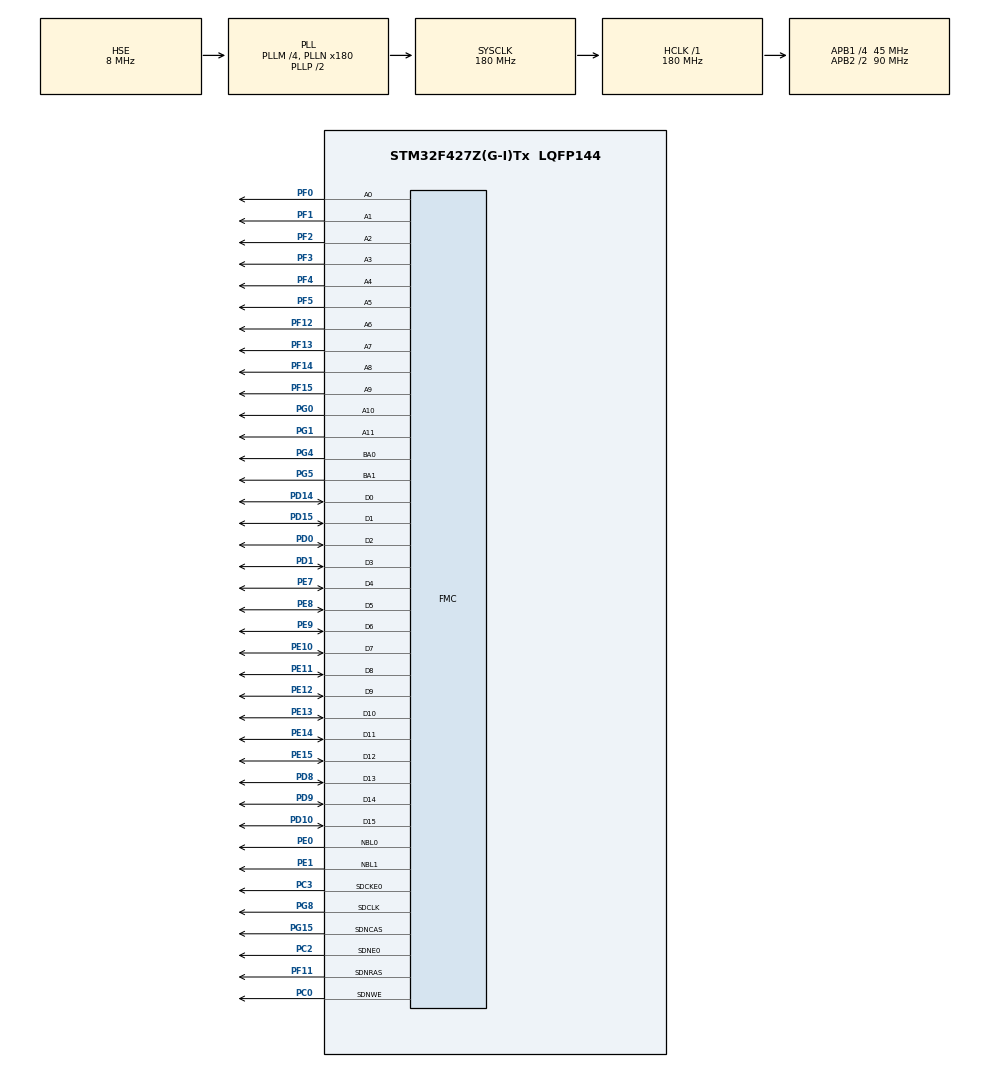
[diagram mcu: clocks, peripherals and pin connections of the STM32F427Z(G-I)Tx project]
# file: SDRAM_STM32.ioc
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FMC.CASLatency1=FMC_SDRAM_CAS_LATENCY_2
FMC.ExitSelfRefreshDelay1=7
FMC.LoadToActiveDelay1=2
FMC.RCDDelay1=2
FMC.RPDelay1=2
FMC.RPDelay2=2
FMC.ReadBurst1=FMC_SDRAM_RBURST_ENABLE
FMC.ReadBurst2=FMC_SDRAM_RBURST_ENABLE
FMC.ReadPipeDelay1=FMC_SDRAM_RPIPE_DELAY_2
FMC.ReadPipeDelay2=FMC_SDRAM_RPIPE_DELAY_2
FMC.RowCycleDelay1=6
FMC.RowCycleDelay2=6
FMC.SDClockPeriod1=FMC_SDRAM_CLOCK_PERIOD_2
FMC.SDClockPeriod2=FMC_SDRAM_CLOCK_PERIOD_2
FMC.SelfRefreshTime1=5
FMC.WriteRecoveryTime1=3
Mcu.Family=STM32F4
Mcu.Name=STM32F427Z(G-I)Tx
Mcu.Package=LQFP144
NVIC.PriorityGroup=NVIC_PRIORITYGROUP_4
PA13.Mode=Serial_Wire
PA13.Signal=SYS_JTMS-SWDIO
PA14.Mode=Serial_Wire
PA14.Signal=SYS_JTCK-SWCLK
PC0.Signal=FMC_SDNWE
PC2.Mode=SdramChipSelect1_1
PC2.Signal=FMC_SDNE0
PC3.Mode=SdramChipSelect1_1
PC3.Signal=FMC_SDCKE0
PD0.Signal=FMC_D2_DA2
PD1.Signal=FMC_D3_DA3
PD10.Signal=FMC_D15_DA15
PD14.Signal=FMC_D0_DA0
PD15.Signal=FMC_D1_DA1
PD8.Signal=FMC_D13_DA13
PD9.Signal=FMC_D14_DA14
PE0.Signal=FMC_NBL0
PE1.Signal=FMC_NBL1
PE10.Signal=FMC_D7_DA7
PE11.Signal=FMC_D8_DA8
PE12.Signal=FMC_D9_DA9
PE13.Signal=FMC_D10_DA10
PE14.Signal=FMC_D11_DA11
PE15.Signal=FMC_D12_DA12
PE7.Signal=FMC_D4_DA4
PE8.Signal=FMC_D5_DA5
PE9.Signal=FMC_D6_DA6
PF0.Signal=FMC_A0
PF1.Signal=FMC_A1
PF11.Signal=FMC_SDNRAS
PF12.Signal=FMC_A6
PF13.Signal=FMC_A7
PF14.Signal=FMC_A8
PF15.Signal=FMC_A9
PF2.Signal=FMC_A2
PF3.Signal=FMC_A3
PF4.Signal=FMC_A4
PF5.Signal=FMC_A5
PG0.Signal=FMC_A10
PG1.Signal=FMC_A11
PG15.Signal=FMC_SDNCAS
PG4.Signal=FMC_A14_BA0
PG5.Signal=FMC_A15_BA1
PG8.Signal=FMC_SDCLK
PH0/OSC_IN.Mode=HSE-External-Oscillator
PH0/OSC_IN.Signal=RCC_OSC_IN
PH1/OSC_OUT.Mode=HSE-External-Oscillator
PH1/OSC_OUT.Signal=RCC_OSC_OUT
ProjectManager.HeapSize=0x200
ProjectManager.StackSize=0x400
ProjectManager.TargetToolchain=STM32CubeIDE
RCC.48MHZClocksFreq_Value=90000000
RCC.AHBFreq_Value=180000000
RCC.APB1CLKDivider=RCC_HCLK_DIV4
RCC.APB1Freq_Value=45000000
RCC.APB1TimFreq_Value=90000000
RCC.APB2CLKDivider=RCC_HCLK_DIV2
RCC.APB2Freq_Value=90000000
RCC.APB2TimFreq_Value=180000000
RCC.CortexFreq_Value=180000000
RCC.HCLKFreq_Value=180000000
RCC.HSE_VALUE=8000000
RCC.HSI_VALUE=16000000
RCC.LSE_VALUE=32768
RCC.PLLM=4
RCC.PLLN=180
RCC.PLLSourceVirtual=RCC_PLLSOURCE_HSE
RCC.SYSCLKFreq_VALUE=180000000
RCC.SYSCLKSource=RCC_SYSCLKSOURCE_PLLCLK
RCC.VCOOutputFreq_Value=360000000
SH.FMC_A0.0=FMC_A0,12b-sda1
SH.FMC_A1.0=FMC_A1,12b-sda1
SH.FMC_A10.0=FMC_A10,12b-sda1
SH.FMC_A11.0=FMC_A11,12b-sda1
SH.FMC_A14_BA0.0=FMC_BA0,FourSdramBanks1
SH.FMC_A15_BA1.0=FMC_BA1,FourSdramBanks1
SH.FMC_A2.0=FMC_A2,12b-sda1
SH.FMC_A3.0=FMC_A3,12b-sda1
SH.FMC_A4.0=FMC_A4,12b-sda1
SH.FMC_A5.0=FMC_A5,12b-sda1
SH.FMC_A6.0=FMC_A6,12b-sda1
SH.FMC_A7.0=FMC_A7,12b-sda1
SH.FMC_A8.0=FMC_A8,12b-sda1
SH.FMC_A9.0=FMC_A9,12b-sda1
SH.FMC_D0_DA0.0=FMC_D0,sd-16b-d1
SH.FMC_D10_DA10.0=FMC_D10,sd-16b-d1
SH.FMC_D11_DA11.0=FMC_D11,sd-16b-d1
SH.FMC_D12_DA12.0=FMC_D12,sd-16b-d1
SH.FMC_D13_DA13.0=FMC_D13,sd-16b-d1
SH.FMC_D14_DA14.0=FMC_D14,sd-16b-d1
SH.FMC_D15_DA15.0=FMC_D15,sd-16b-d1
SH.FMC_D1_DA1.0=FMC_D1,sd-16b-d1
SH.FMC_D2_DA2.0=FMC_D2,sd-16b-d1
SH.FMC_D3_DA3.0=FMC_D3,sd-16b-d1
SH.FMC_D4_DA4.0=FMC_D4,sd-16b-d1
SH.FMC_D5_DA5.0=FMC_D5,sd-16b-d1
SH.FMC_D6_DA6.0=FMC_D6,sd-16b-d1
SH.FMC_D7_DA7.0=FMC_D7,sd-16b-d1
SH.FMC_D8_DA8.0=FMC_D8,sd-16b-d1
SH.FMC_D9_DA9.0=FMC_D9,sd-16b-d1
SH.FMC_NBL0.0=FMC_NBL0,Sd2ByteEnable1
SH.FMC_NBL1.0=FMC_NBL1,Sd2ByteEnable1
SH.FMC_SDCLK.0=FMC_SDCLK,12b-sda1
SH.FMC_SDNCAS.0=FMC_SDNCAS,12b-sda1
SH.FMC_SDNRAS.0=FMC_SDNRAS,12b-sda1
SH.FMC_SDNWE.0=FMC_SDNWE,12b-sda1
board=custom

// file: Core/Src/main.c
/* USER CODE BEGIN Header */
/**
  ******************************************************************************
  * @file           : main.c
  * @brief          : Main program body
  ******************************************************************************
  * @attention
  *
  * Copyright (c) 2024 STMicroelectronics.
  * All rights reserved.
  *
  * This software is licensed under terms that can be found in the LICENSE file
  * in the root directory of this software component.
  * If no LICENSE file comes with this software, it is provided AS-IS.
  *
  ******************************************************************************
  */
/* USER CODE END Header */
#include "main.h"

SDRAM_HandleTypeDef hsdram1;

void SystemClock_Config(void);
static void MX_GPIO_Init(void);
static void MX_FMC_Init(void);

/* USER CODE BEGIN 0 */

#define SDRAM_ADDRESS_START 0xC0000000
#define SDRAM_SIZE  0x800000

uint32_t Counter __attribute__((section(".sdram_data")));

void FMC_Init()
{
   FMC_SDRAM_CommandTypeDef Command;

   /* Step 1 and Step 2 already done in HAL_SDRAM_Init() */

   /* Step 3: Configure a clock configuration enable command */
   Command.CommandMode            = FMC_SDRAM_CMD_CLK_ENABLE; /* Set MODE bits to "001" */
   Command.CommandTarget          = FMC_SDRAM_CMD_TARGET_BANK1; /* configure the Target Bank bits */
   Command.AutoRefreshNumber      = 1;
   Command.ModeRegisterDefinition = 0;
   HAL_SDRAM_SendCommand(&hsdram1, &Command, 0xfff);
   HAL_Delay(1); /* Step 4: Insert 100 us minimum delay - Min HAL Delay is 1ms */

   /* Step 5: Configure a PALL (precharge all) command */
   Command.CommandMode            = FMC_SDRAM_CMD_PALL; /* Set MODE bits to "010" */
   HAL_SDRAM_SendCommand(&hsdram1, &Command, 0xfff);

   /* Step 6: Configure an Auto Refresh command */
   Command.CommandMode            = FMC_SDRAM_CMD_AUTOREFRESH_MODE; /* Set MODE bits to "011" */
   Command.AutoRefreshNumber      = 2;
   HAL_SDRAM_SendCommand(&hsdram1, &Command, 0xfff);

   /* Step 7: Program the external memory mode register */
   Command.CommandMode            = FMC_SDRAM_CMD_LOAD_MODE;/*set the MODE bits to "100" */
   Command.ModeRegisterDefinition =  (uint32_t)0 | 0<<3 | 2<<4 | 0<<7 | 1<<9;
   HAL_SDRAM_SendCommand(&hsdram1, &Command, 0xfff);

   /* Step 8: Set the refresh rate counter - refer to section SDRAM refresh timer register in RM0455 */
   /* Set the device refresh rate
	* COUNT = [(SDRAM self refresh time / number of row) x  SDRAM CLK] – 20
			= [(64ms/4096) * 90MHz] - 20 = 1406.25 - 20 ~ 1386 */
   HAL_SDRAM_ProgramRefreshRate(&hsdram1, 1386);
}

void FMC_Test()
{
	uint32_t counter;

	uint32_t fmcTestStart;
	uint32_t fmcTestStop;

	fmcTestStart = HAL_GetTick();

	for(counter = 0x00; counter < SDRAM_SIZE; counter++)
	{
		*(__IO uint8_t *)(SDRAM_ADDRESS_START + counter) = (uint8_t) 0x00;
	}

	fmcTestStop = HAL_GetTick() - fmcTestStart;

	HAL_Delay(50);

	/* Write all SDRAM */

	uint8_t testByte = 0x00;

	fmcTestStart = HAL_GetTick();

	for(counter = 0x00; counter < SDRAM_SIZE; counter++)
	{
		*(__IO uint8_t *)(SDRAM_ADDRESS_START + counter) = (uint8_t)(testByte + counter);
	}

	fmcTestStop = HAL_GetTick() - fmcTestStart;

	HAL_Delay(50);
}
/* USER CODE END 0 */

int main(void)
{

  /* MCU Configuration--------------------------------------------------------*/

  /* Reset of all peripherals, Initializes the Flash interface and the Systick. */
  HAL_Init();

  /* Configure the system clock */
  SystemClock_Config();

  /* Initialize all configured peripherals */
  MX_GPIO_Init();
  MX_FMC_Init();
  /* USER CODE BEGIN 2 */
  FMC_Init();

//  FMC_Test();
  /* USER CODE END 2 */

  /* Infinite loop */
  while (1)
  {

    /* USER CODE BEGIN 3 */
	  Counter++;
	  HAL_Delay(1000);
  }
  /* USER CODE END 3 */
}

void SystemClock_Config(void)
{
  RCC_OscInitTypeDef RCC_OscInitStruct = {0};
  RCC_ClkInitTypeDef RCC_ClkInitStruct = {0};

  /** Configure the main internal regulator output voltage
  */
  __HAL_RCC_PWR_CLK_ENABLE();
  __HAL_PWR_VOLTAGESCALING_CONFIG(PWR_REGULATOR_VOLTAGE_SCALE1);

  /** Initializes the RCC Oscillators according to the specified parameters
  * in the RCC_OscInitTypeDef structure.
  */
  RCC_OscInitStruct.OscillatorType = RCC_OSCILLATORTYPE_HSE;
  RCC_OscInitStruct.HSEState = RCC_HSE_ON;
  RCC_OscInitStruct.PLL.PLLState = RCC_PLL_ON;
  RCC_OscInitStruct.PLL.PLLSource = RCC_PLLSOURCE_HSE;
  RCC_OscInitStruct.PLL.PLLM = 4;
  RCC_OscInitStruct.PLL.PLLN = 180;
  RCC_OscInitStruct.PLL.PLLP = RCC_PLLP_DIV2;
  RCC_OscInitStruct.PLL.PLLQ = 4;
  if (HAL_RCC_OscConfig(&RCC_OscInitStruct) != HAL_OK)
  {
    Error_Handler();
  }

  /** Activate the Over-Drive mode
  */
  if (HAL_PWREx_EnableOverDrive() != HAL_OK)
  {
    Error_Handler();
  }

  /** Initializes the CPU, AHB and APB buses clocks
  */
  RCC_ClkInitStruct.ClockType = RCC_CLOCKTYPE_HCLK|RCC_CLOCKTYPE_SYSCLK
                              |RCC_CLOCKTYPE_PCLK1|RCC_CLOCKTYPE_PCLK2;
  RCC_ClkInitStruct.SYSCLKSource = RCC_SYSCLKSOURCE_PLLCLK;
  RCC_ClkInitStruct.AHBCLKDivider = RCC_SYSCLK_DIV1;
  RCC_ClkInitStruct.APB1CLKDivider = RCC_HCLK_DIV4;
  RCC_ClkInitStruct.APB2CLKDivider = RCC_HCLK_DIV2;

  if (HAL_RCC_ClockConfig(&RCC_ClkInitStruct, FLASH_LATENCY_5) != HAL_OK)
  {
    Error_Handler();
  }
}

/* FMC initialization function */
static void MX_FMC_Init(void)
{

  FMC_SDRAM_TimingTypeDef SdramTiming = {0};

  /** Perform the SDRAM1 memory initialization sequence
  */
  hsdram1.Instance = FMC_SDRAM_DEVICE;
  /* hsdram1.Init */
  hsdram1.Init.SDBank = FMC_SDRAM_BANK1;
  hsdram1.Init.ColumnBitsNumber = FMC_SDRAM_COLUMN_BITS_NUM_8;
  hsdram1.Init.RowBitsNumber = FMC_SDRAM_ROW_BITS_NUM_12;
  hsdram1.Init.MemoryDataWidth = FMC_SDRAM_MEM_BUS_WIDTH_16;
  hsdram1.Init.InternalBankNumber = FMC_SDRAM_INTERN_BANKS_NUM_4;
  hsdram1.Init.CASLatency = FMC_SDRAM_CAS_LATENCY_2;
  hsdram1.Init.WriteProtection = FMC_SDRAM_WRITE_PROTECTION_DISABLE;
  hsdram1.Init.SDClockPeriod = FMC_SDRAM_CLOCK_PERIOD_2;
  hsdram1.Init.ReadBurst = FMC_SDRAM_RBURST_ENABLE;
  hsdram1.Init.ReadPipeDelay = FMC_SDRAM_RPIPE_DELAY_2;
  /* SdramTiming */
  SdramTiming.LoadToActiveDelay = 2;
  SdramTiming.ExitSelfRefreshDelay = 7;
  SdramTiming.SelfRefreshTime = 5;
  SdramTiming.RowCycleDelay = 6;
  SdramTiming.WriteRecoveryTime = 3;
  SdramTiming.RPDelay = 2;
  SdramTiming.RCDDelay = 2;

  if (HAL_SDRAM_Init(&hsdram1, &SdramTiming) != HAL_OK)
  {
    Error_Handler( );
  }

}

static void MX_GPIO_Init(void)
{

  /* GPIO Ports Clock Enable */
  __HAL_RCC_GPIOF_CLK_ENABLE();
  __HAL_RCC_GPIOH_CLK_ENABLE();
  __HAL_RCC_GPIOC_CLK_ENABLE();
  __HAL_RCC_GPIOG_CLK_ENABLE();
  __HAL_RCC_GPIOE_CLK_ENABLE();
  __HAL_RCC_GPIOD_CLK_ENABLE();
  __HAL_RCC_GPIOA_CLK_ENABLE();

}

void Error_Handler(void)
{
  __disable_irq();
  while (1)
  {
  }
}
